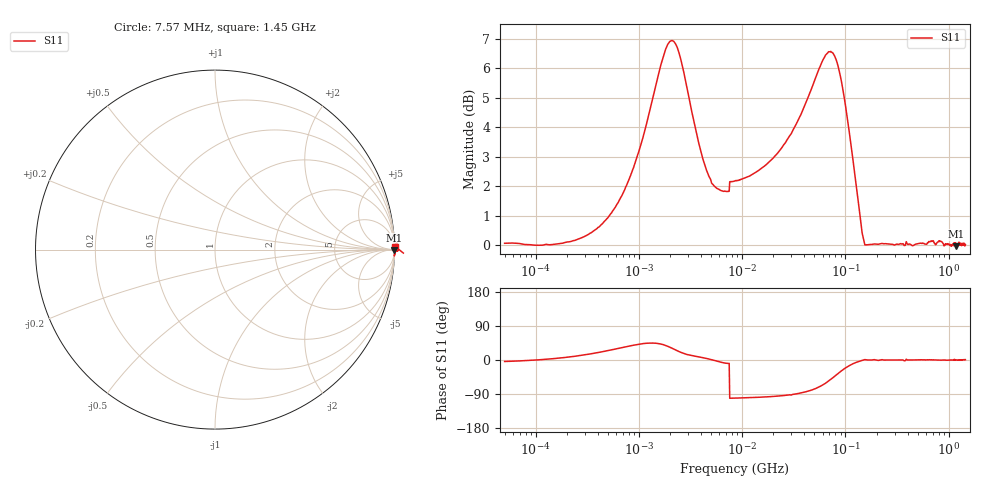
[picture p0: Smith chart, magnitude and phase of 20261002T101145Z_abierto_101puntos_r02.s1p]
! piloto_saltos / abierto_101puntos / r02
# HZ S RI R 50
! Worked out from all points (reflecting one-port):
!   501 points, 50 kHz to 1.45 GHz, reference 50 ohm
!   lowest |S11| = 0.0 dB at 1.189 GHz (marker M1), VSWR 604.90, Z = 1.92e+04 - j1.46e+04 ohm
!   phase of S11 starts at -4 deg and turns +5 deg over the sweep
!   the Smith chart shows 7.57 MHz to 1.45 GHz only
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50000  1.006 -0.069
183000  1.003 0.1056
373000  1.009 0.3289
658000  1.021 0.6294
1180000  1.15 1.116
1630000  1.5 1.355
1990000  1.841 1.232
2440000  1.961 0.8069
3340000  1.616 0.3194
4870000  1.299 0.0436
7300000  1.219 -0.1933
7750000  -0.2406 -1.259
8560000  -0.2342 -1.265
1.81e7  -0.1679 -1.373
3.16e7  -0.0115 -1.578
4.69e7  0.3375 -1.811
5.68e7  0.6961 -1.884
6.49e7  1.046 -1.828
7.39e7  1.397 -1.599
8.65e7  1.651 -1.1
9.82e7  1.626 -0.6745
1e8  1.611 -0.6193
1.18e8  1.378 -0.243
1.36e8  1.148 -0.0689
1.63e8  1.002 0.00033
4.06e8  1.004 0.000825
1.189e9  0.9967 -0.00249
1.45e9  1.002 0.0132
